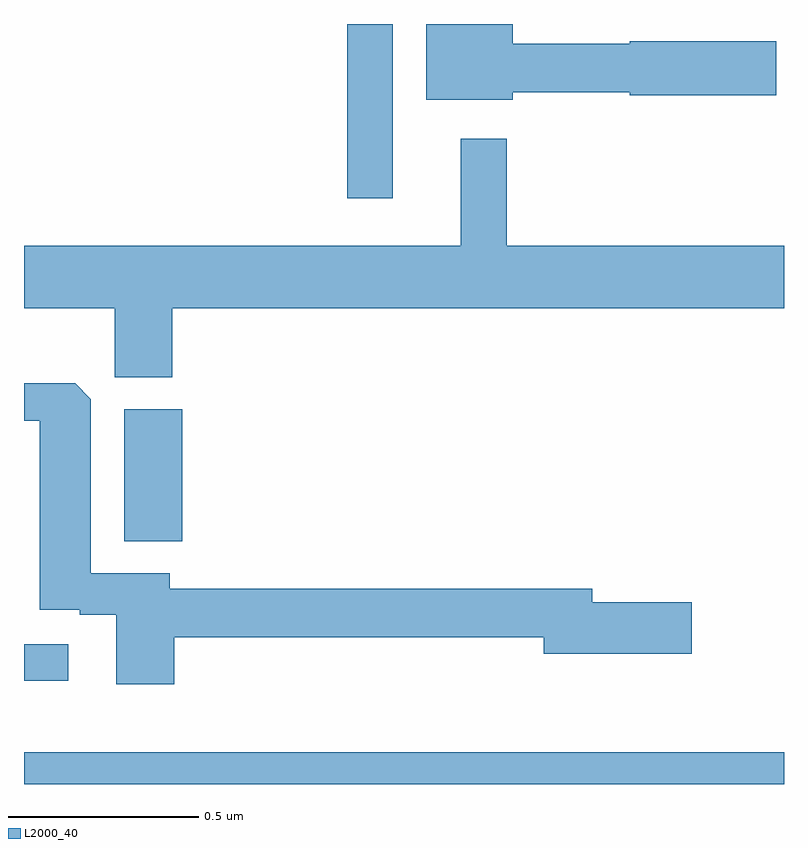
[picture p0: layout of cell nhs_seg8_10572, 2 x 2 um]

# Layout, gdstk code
import gdstk
lib = gdstk.Library(unit=1e-6, precision=1e-09)
def R(c, l, rs):  # rectangles x0, y0, x1, y1
    for r in rs: c.add(gdstk.rectangle(r[:2], r[2:], *l))
def P(c, l, *ps):  # polygons
    for p in ps: c.add(gdstk.Polygon(p, *l))
L2000_40 = (2000, 40)

nhs_seg8_10572 = lib.new_cell('nhs_seg8_10572')
R(nhs_seg8_10572, L2000_40, [(251,1129.9,253,1129.984), (251,1130.172,251.116,1130.268), (251.264,1130.539,251.417,1130.886), (251.85,1131.441,251.971,1131.9)])
P(nhs_seg8_10572, L2000_40, [(252.286,1131.72),(252.594,1131.72),(252.594,1131.712),(252.979,1131.712),(252.979,1131.854),(252.594,1131.854),(252.594,1131.848),(252.286,1131.848),(252.286,1131.9),(252.059,1131.9),(252.059,1131.701),(252.286,1131.701)],
  [(251.39,1131.152),(253,1131.152),(253,1131.316),(252.271,1131.316),(252.271,1131.598),(252.149,1131.598),(252.149,1131.316),(251,1131.316),(251,1131.152),(251.239,1131.152),(251.239,1130.971),(251.39,1130.971)],
  [(251.396,1130.286),(252.368,1130.286),(252.368,1130.243),(252.757,1130.243),(252.757,1130.378),(252.496,1130.378),(252.496,1130.414),(251.383,1130.414),(251.383,1130.454),(251.176,1130.454),(251.176,1130.912),(251.135,1130.954),(251,1130.954),(251,1130.856),(251.042,1130.856),(251.042,1130.358),(251.147,1130.358),(251.147,1130.346),(251.243,1130.346),(251.243,1130.163),(251.396,1130.163)])

lib.write_gds('nhs_seg8_10572.gds')
